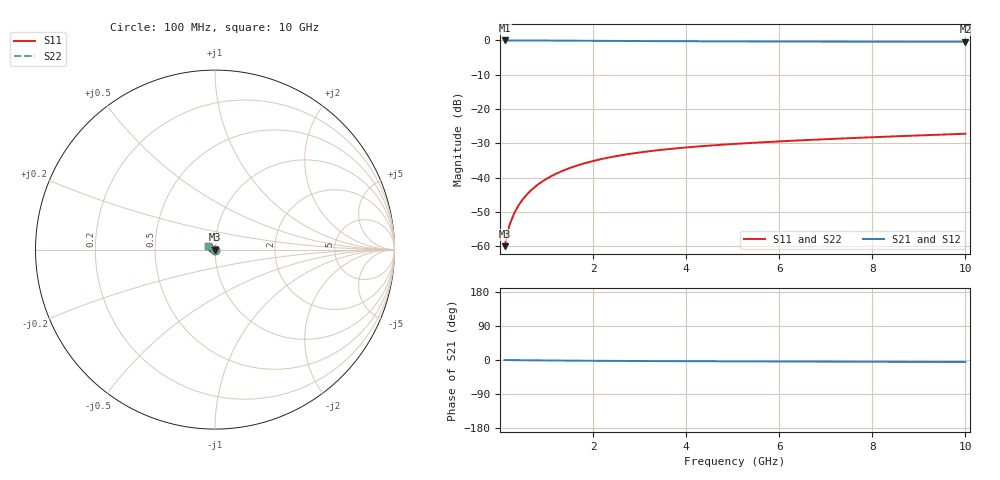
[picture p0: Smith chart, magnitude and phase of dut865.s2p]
! Touchstone file exported from HFSS 2024.1.0
!  File:  C:/UserFiles/LocalFiles/RDL_TSV_Batchsim/temp_TSV1_865_1779882334.aedt
!  Generated:  07:51:35 PM May 27, 2026
!  Design:  TSV1
!  Project:  temp_TSV1_865_1779882334
!  Setup:  Setup1
!  Solution:  Sweep
! Variables:
!  dtsv = 8.87um
!  hbump = 3um
!  htsv = 80.46um
!  lrdl = 252.1521522um
!  p = 40
!  p1 = 58.96um
!  t = 500um
!  trdl = 3um
!  wrdl = 24.89489489um
# GHz S MA R 50.000000
! Terminal data exported
! Port[1] = TSV22_T1
! Port[2] = TSV22_T2
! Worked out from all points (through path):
!   100 points, 100 MHz to 10 GHz, reference 50 ohm
!   highest |S21| = 0.00 dB at 100 MHz (marker M1); lowest = -0.4 dB at 10 GHz (marker M2)
!   lowest |S11| = -60.0 dB at 100 MHz (marker M3), VSWR 1.00, Z = 50 - j0.0994 ohm
!   |S11| at or under -10 dB: start of sweep to end of sweep
!   |S22| runs from -60.0 to -27.2 dB; largest |S21 - S12| = 3.7e-15
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0.1  0.001004 -81.7  0.9998 -0.1  0.9998 -0.1  0.001004 -81.7
! Gamma 0 0 0 0
! Port Impedance 50 0 50 0
0.2  0.001988 -88.9  0.9996 -0.2  0.9996 -0.2  0.001988 -88.9
0.3  0.002976 -92.8  0.9994 -0.4  0.9994 -0.4  0.002976 -92.8
0.4  0.00396 -95.9  0.9992 -0.5  0.9992 -0.5  0.00396 -95.9
0.5  0.004935 -98.6  0.9988 -0.6  0.9988 -0.6  0.004935 -98.6
0.6  0.0059 -101.2  0.9984 -0.7  0.9984 -0.7  0.0059 -101.2
0.7  0.006851 -103.6  0.9979 -0.8  0.9979 -0.8  0.006851 -103.6
0.8  0.007787 -105.9  0.9974 -1.0  0.9974 -1.0  0.007787 -105.9
0.9  0.008707 -108.2  0.9968 -1.1  0.9968 -1.1  0.008707 -108.2
1.1  0.01049 -112.5  0.9955 -1.3  0.9955 -1.3  0.01049 -112.5
1.4  0.01302 -118.8  0.9932 -1.6  0.9932 -1.6  0.01302 -118.8
1.6  0.0146 -122.7  0.9916 -1.7  0.9916 -1.7  0.0146 -122.7
1.8  0.01609 -126.5  0.9899 -1.9  0.9899 -1.9  0.01609 -126.5
2.1  0.01815 -131.9  0.9873 -2.1  0.9873 -2.1  0.01815 -131.9
2.5  0.02062 -138.6  0.984 -2.4  0.984 -2.4  0.02062 -138.6
2.9  0.02279 -144.8  0.9808 -2.6  0.9808 -2.6  0.02279 -144.8
3.4  0.02515 -151.8  0.9771 -2.9  0.9771 -2.9  0.02515 -151.8
4.2  0.0283 -161.7  0.9723 -3.2  0.9723 -3.2  0.0283 -161.7
5.1  0.03123 -171.2  0.968 -3.6  0.968 -3.6  0.03123 -171.2
6.7  0.03562 175.1  0.9626 -4.2  0.9626 -4.2  0.03562 175.1
8.4  0.03982 163.6  0.959 -4.8  0.959 -4.8  0.03982 163.6
10  0.04369 154.7  0.9566 -5.4  0.9566 -5.4  0.04369 154.7
